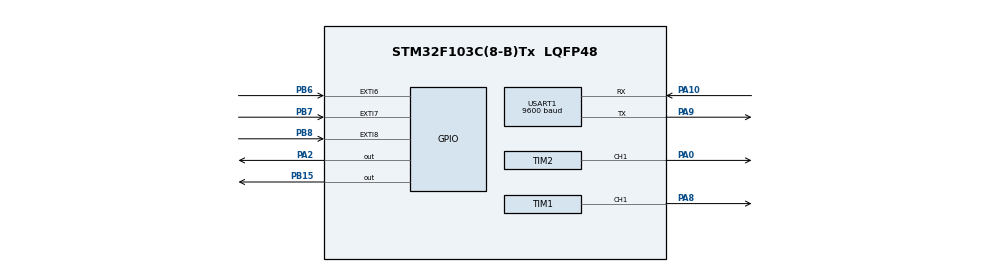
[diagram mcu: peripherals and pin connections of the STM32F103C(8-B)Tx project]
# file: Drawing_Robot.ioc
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Mcu.Family=STM32F1
Mcu.Name=STM32F103C(8-B)Tx
Mcu.Package=LQFP48
NVIC.EXTI9_5_IRQn=true\:0\:0\:false\:false\:true\:true\:true\:true
NVIC.PriorityGroup=NVIC_PRIORITYGROUP_4
NVIC.TIM1_BRK_IRQn=true\:0\:0\:true\:false\:true\:true\:true\:true
NVIC.TIM1_CC_IRQn=true\:0\:0\:true\:false\:true\:true\:true\:true
NVIC.TIM1_TRG_COM_IRQn=true\:0\:0\:true\:false\:true\:true\:true\:true
NVIC.TIM1_UP_IRQn=true\:0\:0\:true\:false\:true\:true\:true\:true
NVIC.TIM2_IRQn=true\:0\:0\:true\:false\:true\:true\:true\:true
NVIC.USART1_IRQn=true\:2\:0\:true\:false\:true\:true\:true\:true
PA0-WKUP.Signal=S_TIM2_CH1_ETR
PA10.Mode=Asynchronous
PA10.Signal=USART1_RX
PA13.Mode=Serial_Wire
PA13.Signal=SYS_JTMS-SWDIO
PA14.Mode=Serial_Wire
PA14.Signal=SYS_JTCK-SWCLK
PA2.Signal=GPIO_Output
PA8.Signal=S_TIM1_CH1
PA9.Mode=Asynchronous
PA9.Signal=USART1_TX
PB15.Signal=GPIO_Output
PB6.Signal=GPXTI6
PB7.Signal=GPXTI7
PB8.Signal=GPXTI8
PD0-OSC_IN.Mode=HSE-External-Oscillator
PD0-OSC_IN.Signal=RCC_OSC_IN
PD1-OSC_OUT.Mode=HSE-External-Oscillator
PD1-OSC_OUT.Signal=RCC_OSC_OUT
ProjectManager.HeapSize=0x200
ProjectManager.StackSize=0x400
ProjectManager.TargetToolchain=STM32CubeIDE
RCC.APB1Freq_Value=8000000
RCC.APB2Freq_Value=8000000
SH.S_TIM1_CH1.0=TIM1_CH1,PWM Generation1 CH1
SH.S_TIM2_CH1_ETR.0=TIM2_CH1,PWM Generation1 CH1
TIM1.Channel-PWM\ Generation1\ CH1=TIM_CHANNEL_1
TIM1.Period=1000-1
TIM1.Prescaler=8-1
TIM1.Pulse-PWM\ Generation1\ CH1=500
TIM2.Channel-PWM\ Generation1\ CH1=TIM_CHANNEL_1
TIM2.Period=1000-1
TIM2.Prescaler=8-1
TIM2.Pulse-PWM\ Generation1\ CH1=500
USART1.BaudRate=9600
USART1.VirtualMode=VM_ASYNC
VP_TIM1_VS_ClockSourceINT.Mode=Internal
VP_TIM2_VS_ClockSourceINT.Mode=Internal
board=custom

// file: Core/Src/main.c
/* USER CODE BEGIN Header */
/**
  ******************************************************************************
  * @file           : main.c
  * @brief          : Main program body
  ******************************************************************************
  * @attention
  *
  * Copyright (c) 2025 STMicroelectronics.
  * All rights reserved.
  *
  * This software is licensed under terms that can be found in the LICENSE file
  * in the root directory of this software component.
  * If no LICENSE file comes with this software, it is provided AS-IS.
  *
  ******************************************************************************
  */
/* USER CODE END Header */
#include "main.h"

/* USER CODE BEGIN Includes */
#include "string.h"
#include "stdio.h"
#include "stdlib.h"
#include "math.h"
/* USER CODE END Includes */

TIM_HandleTypeDef htim1;
TIM_HandleTypeDef htim2;

UART_HandleTypeDef huart1;

/* USER CODE BEGIN PV */
double posX[9] = {0, 2.4, 2.4, 0, 1.2, 2.4, 0, 2.4, 0};
double posY[9] = {2.4, 2.4, 0, 0, 2.4, 0, 1.6, 1.6, 0};

double testX[100];
double testY[100];
uint8_t rx_data;
//int dirX[] = {1,1,0,1,0};
//int dirY[] = {1,0,1,0,0};
double current_X = 0.0, current_Y = 0.0, prev_X = 0.000, prev_Y = 0.000;
#define MAX_ARR 800
uint32_t point, draw_manual;
uint32_t arr_X, arr_Y, gotoX = 0, gotoY = 0, countX = 0, countY = 0, i = 0, prev_dir_x = 0, prev_dir_y = 0, ishomingX = 0, ishomingY = 0,idle =0;
uint32_t counthomeX = 0, counthomeY =0;
uint32_t freedom = 0, star = 0;
double ratio;
char uart_rx_buffer[64];
uint8_t rx_index = 0;
uint8_t received_point = 0;
uint8_t ready_to_start = 0;
uint32_t save_point = 0;
uint8_t rx_byte;
/*
Note:
gotoX, gotoY are flag indicating that X and Y have been arrived
prev_dir_x, prev_dir_y are the previous direction of X-axis and Y-axis
is_homing_x, is_homing_y are the homing flag
*/

/* USER CODE END PV */

void SystemClock_Config(void);
static void MX_GPIO_Init(void);
static void MX_TIM1_Init(void);
static void MX_TIM2_Init(void);
static void MX_USART1_UART_Init(void);

int main(void)
{

  /* MCU Configuration--------------------------------------------------------*/

  /* Reset of all peripherals, Initializes the Flash interface and the Systick. */
  HAL_Init();

  /* Configure the system clock */
  SystemClock_Config();

  /* Initialize all configured peripherals */
  MX_GPIO_Init();
  MX_TIM1_Init();
  MX_TIM2_Init();
  MX_USART1_UART_Init();
  /* USER CODE BEGIN 2 */

  HAL_TIM_Base_Start_IT(&htim1);
  HAL_TIM_Base_Start_IT(&htim2);
  void setting_robot(int index, double posX[], double posY[]);
  void homing();
  char msg[] = "Uart Command:\r\n 1. Drawing Star.\r\n 2. Manual Input.\r\n 3. Homing Mode.\r\n 4. Run Save Point in Mode 2. \r\n Note: If you are in mode 2, please enter '!' to quit mode 2.\r\n Sample Command in mode 2: X10 Y10; \r\n";
  HAL_UART_Transmit(&huart1, (uint8_t*)msg, strlen(msg), HAL_MAX_DELAY);
//  setting_robot(0);
  HAL_UART_Receive_IT(&huart1, (uint8_t *)&rx_byte, 1);
  /* USER CODE END 2 */

  /* Infinite loop */
  while (1)
  {

  }
}

void SystemClock_Config(void)
{
  RCC_OscInitTypeDef RCC_OscInitStruct = {0};
  RCC_ClkInitTypeDef RCC_ClkInitStruct = {0};

  /** Initializes the RCC Oscillators according to the specified parameters
  * in the RCC_OscInitTypeDef structure.
  */
  RCC_OscInitStruct.OscillatorType = RCC_OSCILLATORTYPE_HSI;
  RCC_OscInitStruct.HSIState = RCC_HSI_ON;
  RCC_OscInitStruct.HSICalibrationValue = RCC_HSICALIBRATION_DEFAULT;
  RCC_OscInitStruct.PLL.PLLState = RCC_PLL_NONE;
  if (HAL_RCC_OscConfig(&RCC_OscInitStruct) != HAL_OK)
  {
    Error_Handler();
  }

  /** Initializes the CPU, AHB and APB buses clocks
  */
  RCC_ClkInitStruct.ClockType = RCC_CLOCKTYPE_HCLK|RCC_CLOCKTYPE_SYSCLK
                              |RCC_CLOCKTYPE_PCLK1|RCC_CLOCKTYPE_PCLK2;
  RCC_ClkInitStruct.SYSCLKSource = RCC_SYSCLKSOURCE_HSI;
  RCC_ClkInitStruct.AHBCLKDivider = RCC_SYSCLK_DIV1;
  RCC_ClkInitStruct.APB1CLKDivider = RCC_HCLK_DIV1;
  RCC_ClkInitStruct.APB2CLKDivider = RCC_HCLK_DIV1;

  if (HAL_RCC_ClockConfig(&RCC_ClkInitStruct, FLASH_LATENCY_0) != HAL_OK)
  {
    Error_Handler();
  }
}

static void MX_TIM1_Init(void)
{

  TIM_ClockConfigTypeDef sClockSourceConfig = {0};
  TIM_MasterConfigTypeDef sMasterConfig = {0};
  TIM_OC_InitTypeDef sConfigOC = {0};
  TIM_BreakDeadTimeConfigTypeDef sBreakDeadTimeConfig = {0};

  htim1.Instance = TIM1;
  htim1.Init.Prescaler = 8-1;
  htim1.Init.CounterMode = TIM_COUNTERMODE_UP;
  htim1.Init.Period = 1000-1;
  htim1.Init.ClockDivision = TIM_CLOCKDIVISION_DIV1;
  htim1.Init.RepetitionCounter = 0;
  htim1.Init.AutoReloadPreload = TIM_AUTORELOAD_PRELOAD_DISABLE;
  if (HAL_TIM_Base_Init(&htim1) != HAL_OK)
  {
    Error_Handler();
  }
  sClockSourceConfig.ClockSource = TIM_CLOCKSOURCE_INTERNAL;
  if (HAL_TIM_ConfigClockSource(&htim1, &sClockSourceConfig) != HAL_OK)
  {
    Error_Handler();
  }
  if (HAL_TIM_PWM_Init(&htim1) != HAL_OK)
  {
    Error_Handler();
  }
  sMasterConfig.MasterOutputTrigger = TIM_TRGO_RESET;
  sMasterConfig.MasterSlaveMode = TIM_MASTERSLAVEMODE_DISABLE;
  if (HAL_TIMEx_MasterConfigSynchronization(&htim1, &sMasterConfig) != HAL_OK)
  {
    Error_Handler();
  }
  sConfigOC.OCMode = TIM_OCMODE_PWM1;
  sConfigOC.Pulse = 300;
  sConfigOC.OCPolarity = TIM_OCPOLARITY_HIGH;
  sConfigOC.OCNPolarity = TIM_OCNPOLARITY_HIGH;
  sConfigOC.OCFastMode = TIM_OCFAST_DISABLE;
  sConfigOC.OCIdleState = TIM_OCIDLESTATE_RESET;
  sConfigOC.OCNIdleState = TIM_OCNIDLESTATE_RESET;
  if (HAL_TIM_PWM_ConfigChannel(&htim1, &sConfigOC, TIM_CHANNEL_1) != HAL_OK)
  {
    Error_Handler();
  }
  sBreakDeadTimeConfig.OffStateRunMode = TIM_OSSR_DISABLE;
  sBreakDeadTimeConfig.OffStateIDLEMode = TIM_OSSI_DISABLE;
  sBreakDeadTimeConfig.LockLevel = TIM_LOCKLEVEL_OFF;
  sBreakDeadTimeConfig.DeadTime = 0;
  sBreakDeadTimeConfig.BreakState = TIM_BREAK_DISABLE;
  sBreakDeadTimeConfig.BreakPolarity = TIM_BREAKPOLARITY_HIGH;
  sBreakDeadTimeConfig.AutomaticOutput = TIM_AUTOMATICOUTPUT_DISABLE;
  if (HAL_TIMEx_ConfigBreakDeadTime(&htim1, &sBreakDeadTimeConfig) != HAL_OK)
  {
    Error_Handler();
  }
  HAL_TIM_MspPostInit(&htim1);

}

static void MX_TIM2_Init(void)
{

  TIM_ClockConfigTypeDef sClockSourceConfig = {0};
  TIM_MasterConfigTypeDef sMasterConfig = {0};
  TIM_OC_InitTypeDef sConfigOC = {0};

  htim2.Instance = TIM2;
  htim2.Init.Prescaler = 8-1;
  htim2.Init.CounterMode = TIM_COUNTERMODE_UP;
  htim2.Init.Period = 1000-1;
  htim2.Init.ClockDivision = TIM_CLOCKDIVISION_DIV1;
  htim2.Init.AutoReloadPreload = TIM_AUTORELOAD_PRELOAD_DISABLE;
  if (HAL_TIM_Base_Init(&htim2) != HAL_OK)
  {
    Error_Handler();
  }
  sClockSourceConfig.ClockSource = TIM_CLOCKSOURCE_INTERNAL;
  if (HAL_TIM_ConfigClockSource(&htim2, &sClockSourceConfig) != HAL_OK)
  {
    Error_Handler();
  }
  if (HAL_TIM_PWM_Init(&htim2) != HAL_OK)
  {
    Error_Handler();
  }
  sMasterConfig.MasterOutputTrigger = TIM_TRGO_RESET;
  sMasterConfig.MasterSlaveMode = TIM_MASTERSLAVEMODE_DISABLE;
  if (HAL_TIMEx_MasterConfigSynchronization(&htim2, &sMasterConfig) != HAL_OK)
  {
    Error_Handler();
  }
  sConfigOC.OCMode = TIM_OCMODE_PWM1;
  sConfigOC.Pulse = 300;
  sConfigOC.OCPolarity = TIM_OCPOLARITY_HIGH;
  sConfigOC.OCFastMode = TIM_OCFAST_DISABLE;
  if (HAL_TIM_PWM_ConfigChannel(&htim2, &sConfigOC, TIM_CHANNEL_1) != HAL_OK)
  {
    Error_Handler();
  }
  HAL_TIM_MspPostInit(&htim2);

}

static void MX_USART1_UART_Init(void)
{

  huart1.Instance = USART1;
  huart1.Init.BaudRate = 9600;
  huart1.Init.WordLength = UART_WORDLENGTH_8B;
  huart1.Init.StopBits = UART_STOPBITS_1;
  huart1.Init.Parity = UART_PARITY_NONE;
  huart1.Init.Mode = UART_MODE_TX_RX;
  huart1.Init.HwFlowCtl = UART_HWCONTROL_NONE;
  huart1.Init.OverSampling = UART_OVERSAMPLING_16;
  if (HAL_UART_Init(&huart1) != HAL_OK)
  {
    Error_Handler();
  }

}

static void MX_GPIO_Init(void)
{
  GPIO_InitTypeDef GPIO_InitStruct = {0};

  /* GPIO Ports Clock Enable */
  __HAL_RCC_GPIOD_CLK_ENABLE();
  __HAL_RCC_GPIOA_CLK_ENABLE();
  __HAL_RCC_GPIOB_CLK_ENABLE();

  /*Configure GPIO pin Output Level */
  HAL_GPIO_WritePin(GPIOA, GPIO_PIN_2, GPIO_PIN_RESET);

  /*Configure GPIO pin Output Level */
  HAL_GPIO_WritePin(GPIOB, GPIO_PIN_15, GPIO_PIN_RESET);

  /*Configure GPIO pin : PA2 */
  GPIO_InitStruct.Pin = GPIO_PIN_2;
  GPIO_InitStruct.Mode = GPIO_MODE_OUTPUT_PP;
  GPIO_InitStruct.Pull = GPIO_NOPULL;
  GPIO_InitStruct.Speed = GPIO_SPEED_FREQ_LOW;
  HAL_GPIO_Init(GPIOA, &GPIO_InitStruct);

  /*Configure GPIO pin : PB15 */
  GPIO_InitStruct.Pin = GPIO_PIN_15;
  GPIO_InitStruct.Mode = GPIO_MODE_OUTPUT_PP;
  GPIO_InitStruct.Pull = GPIO_NOPULL;
  GPIO_InitStruct.Speed = GPIO_SPEED_FREQ_LOW;
  HAL_GPIO_Init(GPIOB, &GPIO_InitStruct);

  /*Configure GPIO pins : PB6 PB7 PB8 */
  GPIO_InitStruct.Pin = GPIO_PIN_6|GPIO_PIN_7|GPIO_PIN_8;
  GPIO_InitStruct.Mode = GPIO_MODE_IT_RISING;
  GPIO_InitStruct.Pull = GPIO_NOPULL;
  HAL_GPIO_Init(GPIOB, &GPIO_InitStruct);

  /* EXTI interrupt init*/
  HAL_NVIC_SetPriority(EXTI9_5_IRQn, 0, 0);
  HAL_NVIC_EnableIRQ(EXTI9_5_IRQn);

}

/* USER CODE BEGIN 4 */
void setting_robot(int index, double posX[], double posY[])
{
	  HAL_TIM_PWM_Stop_IT(&htim1, TIM_CHANNEL_1);
	  HAL_TIM_PWM_Stop_IT(&htim2, TIM_CHANNEL_1);
	  idle = 1;
	  current_X = (double) posX[index] - prev_X;
	  current_Y = (double) posY[index] - prev_Y;
	  if(current_X > 0) //spin clockwise if current value > previous value
	  {
		  HAL_GPIO_WritePin(GPIOB, GPIO_PIN_15, GPIO_PIN_SET);
		  prev_dir_x = 1;
	  }else if(current_X < 0) //spin counterclockwise if current value < previous value
	  {
		  HAL_GPIO_WritePin(GPIOB, GPIO_PIN_15, GPIO_PIN_RESET);
		  prev_dir_x = 0;
	  }else{ //spin with previous direction if current value if current value = previous value
		  HAL_GPIO_WritePin(GPIOB, GPIO_PIN_15, prev_dir_x);
	  }

	  if(current_Y > 0) //spin clockwise if current value > previous value
	  {
		  HAL_GPIO_WritePin(GPIOA, GPIO_PIN_2, GPIO_PIN_SET);
		  prev_dir_y = 1;
	  }else if(current_Y < 0) //spin counterclockwise if current value < previous value
	  {
		  HAL_GPIO_WritePin(GPIOA, GPIO_PIN_2, GPIO_PIN_RESET);
		  prev_dir_y = 0;
	  }else{ //spin with previous direction if current value if current value = previous value
		  HAL_GPIO_WritePin(GPIOA, GPIO_PIN_2, prev_dir_y);
	  }

	  //get abs of current x value and current y value
	  current_X = fabs(current_X);
	  current_Y = fabs(current_Y);

	  /*
	   	 Mode 0 and Mode 1: reset frequency's X and Y axis proportional to the distance between x and y
	     Mode 2: run two axes with the same frequency ( X distance = Y distance)
	     Mode 3: don't move if currentX = currentY = 0
	     Mode 4 and Mode 5: if current value of any axis is 0, run the remaining axis.

	     The status is trasmitted by uart for user with 9600 bound rate
	  */
	  if(current_X > current_Y && current_X != 0 && current_Y != 0)
	  {
		  char msg[64];
		  sprintf(msg, "Mode %d\n", 0);
		  HAL_UART_Transmit(&huart1, (uint8_t*)msg, strlen(msg), HAL_MAX_DELAY);
		  __HAL_TIM_SET_AUTORELOAD(&htim1, MAX_ARR);
		  ratio = (double) current_X / current_Y;
		  arr_Y = ratio * MAX_ARR;
		  __HAL_TIM_SET_AUTORELOAD(&htim2, arr_Y);
		  HAL_TIM_PWM_Start_IT(&htim1, TIM_CHANNEL_1);
		  HAL_TIM_PWM_Start_IT(&htim2, TIM_CHANNEL_1);
	  }else if(current_X < current_Y && current_X != 0 && current_Y != 0)
	  {
		  char msg[64];
		  sprintf(msg, "Mode %d\n", 1);
		  HAL_UART_Transmit(&huart1, (uint8_t*)msg, strlen(msg), HAL_MAX_DELAY);
		  __HAL_TIM_SET_AUTORELOAD(&htim2, MAX_ARR);
		  ratio = (double) current_Y / current_X;
		  arr_X = ratio * MAX_ARR;
		  __HAL_TIM_SET_AUTORELOAD(&htim1, arr_X);
		  HAL_TIM_PWM_Start_IT(&htim1, TIM_CHANNEL_1);
		  HAL_TIM_PWM_Start_IT(&htim2, TIM_CHANNEL_1);
	  }else if(current_X == current_Y)
	  {
		  char msg[64];
		  sprintf(msg, "Mode %d\n", 2);
		  HAL_UART_Transmit(&huart1, (uint8_t*)msg, strlen(msg), HAL_MAX_DELAY);
		  __HAL_TIM_SET_AUTORELOAD(&htim1, MAX_ARR);
		  __HAL_TIM_SET_AUTORELOAD(&htim2, MAX_ARR);
	      HAL_TIM_PWM_Start_IT(&htim1, TIM_CHANNEL_1);
		  HAL_TIM_PWM_Start_IT(&htim2, TIM_CHANNEL_1);
	  }else if(!current_X && !current_Y)
	  {
		  char msg[64];
		  sprintf(msg, "Mode %d\n", 3);
		  HAL_UART_Transmit(&huart1, (uint8_t*)msg, strlen(msg), HAL_MAX_DELAY);
		  gotoX = 1;
		  gotoY = 1;
		  HAL_TIM_PWM_Stop_IT(&htim1, TIM_CHANNEL_1);
		  HAL_TIM_PWM_Stop_IT(&htim2, TIM_CHANNEL_1);
	  }else if(current_X == 0 && current_Y !=0)
	  {
		  char msg[64];
		  sprintf(msg, "Mode %d\n", 4);
		  HAL_UART_Transmit(&huart1, (uint8_t*)msg, strlen(msg), HAL_MAX_DELAY);
		  gotoX = 1;
		  __HAL_TIM_SET_AUTORELOAD(&htim2, MAX_ARR);
		  HAL_TIM_PWM_Stop_IT(&htim1, TIM_CHANNEL_1);
		  HAL_TIM_PWM_Start_IT(&htim2, TIM_CHANNEL_1);
	  }else if(current_X != 0 && current_Y == 0)
	  {
		  char msg[64];
		  sprintf(msg, "Mode %d\n", 5);
		  HAL_UART_Transmit(&huart1, (uint8_t*)msg, strlen(msg), HAL_MAX_DELAY);
		  gotoY = 1;
		  __HAL_TIM_SET_AUTORELOAD(&htim1, MAX_ARR);
		  HAL_TIM_PWM_Stop_IT(&htim2, TIM_CHANNEL_1);
		  HAL_TIM_PWM_Start_IT(&htim1, TIM_CHANNEL_1);
	  }
	  prev_X = posX[index];
	  prev_Y = posY[index];
}

/* Using hart-limit to set homing. run two axes until the hard-limit is triggered */
void homing()
{
	__HAL_TIM_SET_AUTORELOAD(&htim1, MAX_ARR);
	__HAL_TIM_SET_AUTORELOAD(&htim2, MAX_ARR);
	HAL_GPIO_WritePin(GPIOA, GPIO_PIN_2, GPIO_PIN_RESET);
	HAL_GPIO_WritePin(GPIOB, GPIO_PIN_15, GPIO_PIN_RESET);
	HAL_TIM_PWM_Start(&htim1, TIM_CHANNEL_1);
	HAL_TIM_PWM_Start(&htim2, TIM_CHANNEL_1);
}

void HAL_TIM_PWM_PulseFinishedCallback(TIM_HandleTypeDef *htim)
{
	  if(htim->Instance == TIM1 && ishomingX == 0)
	  {
		  countX++;
		  if(countX > (current_X * 10 * 200) - 1)
		  {
			  char msg[64];
			  sprintf(msg, "countX %ld, dir_x %ld\n", countX, prev_dir_x);
			  HAL_UART_Transmit(&huart1, (uint8_t*)msg, strlen(msg), 1000);
			  HAL_TIM_PWM_Stop_IT(&htim1, TIM_CHANNEL_1);
			  gotoX = 1;
		  }
	  }
	  if(htim->Instance == TIM2 && ishomingY == 0)
	  {
		  countY++;
		  if(countY > (current_Y * 10 * 200) - 1)
		  {
			  char msg[64];
			  sprintf(msg, "countY %ld, dir_y %ld\n", countY, prev_dir_y);
			  HAL_UART_Transmit(&huart1, (uint8_t*)msg, strlen(msg), 1000);
			  HAL_TIM_PWM_Stop_IT(&htim2, TIM_CHANNEL_1);
			  gotoY = 1;
		  }
	  }
	  if(gotoX == 1 && gotoY == 1 && ishomingX == 0 && ishomingY == 0)
	  {
		  i++;
		  gotoX = 0;
		  gotoY = 0;
		  countX = 0;
		  countY = 0;
		  if(star == 1)
		  {
			  point = 9;
			  if(i < point)
			  {
				  setting_robot(i,posX,posY);
			  }else{
				  idle = 0;
			  }

		  }

		  if(draw_manual == 1)
		  {
			  point = received_point;
			  if(i < point)
			  {
				  setting_robot(i,testX,testY);
			  }else{
				  idle = 0;
			  }
		  }
	  }
	  if(htim->Instance == TIM1 && ishomingX == 1)
	  {
		  counthomeX++;
		  if(counthomeX > 800)
		  {
			  HAL_TIM_PWM_Stop_IT(&htim1, TIM_CHANNEL_1);
			  ishomingX = 0;
			  counthomeX = 0;
		  }
	  }

	  if(htim->Instance == TIM2 && ishomingY == 1)
	  {
		  counthomeY++;
		  if(counthomeY > 800)
		  {
			  HAL_TIM_PWM_Stop_IT(&htim2, TIM_CHANNEL_1);
			  ishomingY = 0;
			  counthomeY = 0;
		  }
	  }
}

void HAL_GPIO_EXTI_Callback(uint16_t GPIO_Pin)
{
	if(GPIO_Pin == GPIO_PIN_6 && idle == 0)
	{
		homing();
	}

	if(GPIO_Pin == GPIO_PIN_7)
	{
		ishomingX = 1;
		HAL_TIM_PWM_Stop(&htim1, TIM_CHANNEL_1);
		HAL_GPIO_WritePin(GPIOB, GPIO_PIN_15, GPIO_PIN_SET);
		HAL_TIM_PWM_Start_IT(&htim1, TIM_CHANNEL_1);
	}

	if(GPIO_Pin == GPIO_PIN_8)
	{
		ishomingY = 1;
		HAL_TIM_PWM_Stop(&htim2, TIM_CHANNEL_1);
		HAL_GPIO_WritePin(GPIOA, GPIO_PIN_2, GPIO_PIN_SET);
		HAL_TIM_PWM_Start_IT(&htim2, TIM_CHANNEL_1);
	}
}

void HAL_UART_RxCpltCallback(UART_HandleTypeDef *huart){
	if(huart->Instance == huart1.Instance)
	{
		if(save_point == 0)
		{
			if(rx_byte == '1')
			{
	            char msg[] = " Draw Star Mode\r\n";
	            HAL_UART_Transmit(&huart1, (uint8_t*)msg, strlen(msg), HAL_MAX_DELAY);
				star = 1;
				setting_robot(0,posX,posY);
			}else if(rx_byte == '2')
			{
				save_point = 1;
				draw_manual = 1;
	            char msg[] = " Manual Input Mode\r\n";
	            HAL_UART_Transmit(&huart1, (uint8_t*)msg, strlen(msg), HAL_MAX_DELAY);
			}else if(rx_byte == '3')
			{
				for (int i = 0; i < received_point; i++)
				{
					char msg[64];
					sprintf(msg, " Point %d: X = %.2f, Y = %.2f\r\n", i, testX[i], testY[i]);
					HAL_UART_Transmit(&huart1, (uint8_t*)msg, strlen(msg), 1000);
				}
			}else if(rx_byte == '4')
			{
				i = 0;
				star = 0;
				draw_manual = 1;
				setting_robot(0,testX,testY);
			}
		}
		else if (save_point == 1)
		{
			if(rx_byte == ';')
			{
				uart_rx_buffer[rx_index] = '\0';
				double x_val, y_val;
				HAL_UART_Transmit(&huart1, (uint8_t*)uart_rx_buffer, strlen(uart_rx_buffer), 1000);
				if (sscanf(uart_rx_buffer, "x%lf y%lf", &x_val, &y_val) == 2)
				{
					gotoX = 0;
					gotoY = 0;
					testX[received_point] = x_val;
					testY[received_point] = y_val;
					setting_robot(received_point, testX, testY);
					received_point++;

					char msg[64];
					sprintf(msg, "Saved: X=%.1f, Y=%.1f\r\n", x_val, y_val);
					HAL_UART_Transmit(&huart1, (uint8_t*)msg, strlen(msg), 1000);
				}
				else {
					char msg[] = "Re-enter X and Y. \r\n";
					HAL_UART_Transmit(&huart1, (uint8_t*)msg, strlen(msg), 1000);
				}

				memset(uart_rx_buffer, 0, sizeof(uart_rx_buffer));
				rx_index = 0;
			}
			else
			{
				uart_rx_buffer[rx_index++] = rx_byte;
				if (rx_index >= sizeof(uart_rx_buffer)) {
					rx_index = 0;
				}
			}

			if(rx_byte == '!')
			{
				save_point = 0;
	            char msg[] = "Quit Manual Input\r\n";
	            HAL_UART_Transmit(&huart1, (uint8_t*)msg, strlen(msg), HAL_MAX_DELAY);
			}
		}
	}
	HAL_UART_Receive_IT(&huart1, &rx_byte, 1);
}
/* USER CODE END 4 */

void Error_Handler(void)
{
  __disable_irq();
  while (1)
  {
  }
}
